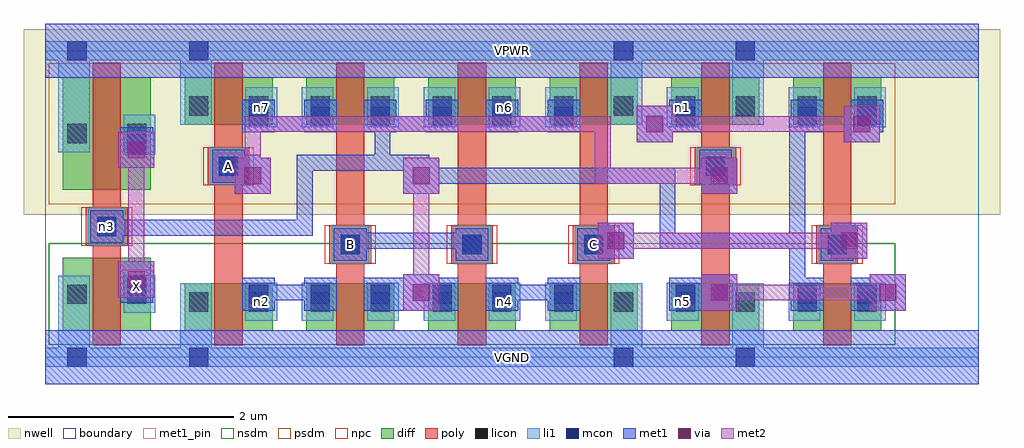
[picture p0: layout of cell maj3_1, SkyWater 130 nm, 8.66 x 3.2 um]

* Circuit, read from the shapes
.subckt maj3_1 A B C VGND VPWR X n1 n2 n3 n4 n5 n6 n7
XM1 X n3 VGND VSUBS sky130_fd_pr__nfet_01v8 w=0.65 l=0.25
XM2 n2 A VGND VSUBS sky130_fd_pr__nfet_01v8 w=0.42 l=0.25
XM3 n3 B n2 VSUBS sky130_fd_pr__nfet_01v8 w=0.42 l=0.25
XM4 n4 B n3 VSUBS sky130_fd_pr__nfet_01v8 w=0.42 l=0.25
XM5 VGND C n4 VSUBS sky130_fd_pr__nfet_01v8 w=0.42 l=0.25
XM6 VGND A n5 VSUBS sky130_fd_pr__nfet_01v8 w=0.42 l=0.25
XM7 n5 C n3 VSUBS sky130_fd_pr__nfet_01v8 w=0.42 l=0.25
XM8 X n3 VPWR n8 sky130_fd_pr__pfet_01v8 w=1 l=0.25
XM9 n7 A VPWR n8 sky130_fd_pr__pfet_01v8 w=0.42 l=0.25
XM10 n3 B n7 n8 sky130_fd_pr__pfet_01v8 w=0.42 l=0.25
XM11 n6 B n3 n8 sky130_fd_pr__pfet_01v8 w=0.42 l=0.25
XM12 VPWR C n6 n8 sky130_fd_pr__pfet_01v8 w=0.42 l=0.25
XM13 VPWR A n1 n8 sky130_fd_pr__pfet_01v8 w=0.42 l=0.25
XM14 n1 C n3 n8 sky130_fd_pr__pfet_01v8 w=0.42 l=0.25
.ends

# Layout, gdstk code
import gdstk
lib = gdstk.Library(unit=1e-6, precision=1e-09)
def R(c, l, rs):  # rectangles x0, y0, x1, y1
    for r in rs: c.add(gdstk.rectangle(r[:2], r[2:], *l))
def A(c, l, x, y, w, h, nx, ny, dx, dy):  # array of equal rectangles
    R(c, l, [(x+i*dx, y+j*dy, x+i*dx+w, y+j*dy+h) for i in range(nx) for j in range(ny)])
nwell = (64, 20)
diff = (65, 20)
poly = (66, 20)
licon = (66, 44)
li1 = (67, 20)
mcon = (67, 44)
met1_pin = (68, 16)
met1 = (68, 20)
via = (68, 44)
met2 = (69, 20)
nsdm = (93, 44)
psdm = (94, 20)
npc = (95, 20)
boundary = (235, 4)

maj3_1 = lib.new_cell('maj3_1')
R(maj3_1, nwell, [(-0.19,1.265,8.47,2.91), (0,1.265,8.28,2.91)])
A(maj3_1, diff, 1.235, 0.235, 0.78, 0.42, 6, 2, 1.08, 1.83)
R(maj3_1, diff, [(0.155,0.235,0.935,0.885), (0.155,1.485,0.935,2.485)])
A(maj3_1, poly, 0.42, 0.105, 0.25, 2.51, 7, 1, 1.08, 0)
A(maj3_1, poly, 2.52, 0.83, 0.37, 0.34, 3, 1, 1.08, 0)
R(maj3_1, poly, [(6.84,0.83,7.21,1.17), (0.36,0.99,0.73,1.33), (1.44,1.525,1.81,1.865), (5.76,1.525,6.13,1.865)])
A(maj3_1, licon, 2.62, 0.915, 0.17, 0.17, 3, 1, 1.08, 0)
R(maj3_1, licon, [(1.275,0.405,1.445,0.575), (1.805,0.405,1.975,0.575), (2.355,0.405,2.525,0.575), (2.885,0.405,3.055,0.575), (3.435,0.405,3.605,0.575), (3.965,0.405,4.135,0.575), (4.515,0.405,4.685,0.575), (5.045,0.405,5.215,0.575), (5.595,0.405,5.765,0.575), (6.125,0.405,6.295,0.575), (6.675,0.405,6.845,0.575), (7.205,0.405,7.375,0.575), (0.195,0.475,0.365,0.645), (0.725,0.475,0.895,0.645), (6.94,0.915,7.11,1.085), (0.46,1.075,0.63,1.245), (1.54,1.61,1.71,1.78), (5.86,1.61,6.03,1.78), (0.195,1.9,0.365,2.07), (0.725,1.9,0.895,2.07), (1.275,2.145,1.445,2.315), (1.805,2.145,1.975,2.315), (2.355,2.145,2.525,2.315), (2.885,2.145,3.055,2.315), (3.435,2.145,3.605,2.315), (3.965,2.145,4.135,2.315), (4.515,2.145,4.685,2.315), (5.045,2.145,5.215,2.315), (5.595,2.145,5.765,2.315), (6.125,2.145,6.295,2.315), (6.675,2.145,6.845,2.315), (7.205,2.145,7.375,2.315)])
A(maj3_1, li1, 4.435, 0.325, 0.28, 0.335, 3, 1, 1.08, 0)
A(maj3_1, li1, 2.54, 0.835, 0.33, 0.33, 3, 1, 1.08, 0)
A(maj3_1, li1, 4.435, 2.04, 0.28, 0.355, 3, 1, 1.08, 0)
R(maj3_1, li1, [(0,-0.085,8.28,0.085), (0.115,-0.085,0.395,0.725), (1.195,-0.085,1.475,0.655), (5.015,-0.085,5.295,0.655), (6.095,-0.085,6.375,0.655), (1.775,0.325,2.055,0.66), (2.275,0.325,2.555,0.66), (2.855,0.325,3.135,0.66), (3.355,0.325,3.635,0.66), (3.935,0.325,4.215,0.66), (7.175,0.325,7.455,0.66), (0.695,0.395,0.975,0.73), (6.86,0.835,7.19,1.165), (0.38,0.995,0.71,1.325), (1.46,1.53,1.79,1.86), (5.78,1.53,6.11,1.86), (0.695,1.795,0.975,2.15), (0.115,1.82,0.395,2.805), (1.775,2.04,2.055,2.395), (2.275,2.04,2.555,2.395), (2.855,2.04,3.135,2.395), (3.355,2.04,3.635,2.395), (3.935,2.04,4.215,2.395), (7.175,2.04,7.455,2.395), (1.195,2.065,1.475,2.805), (5.015,2.065,5.295,2.805), (6.095,2.065,6.375,2.805), (0,2.635,8.28,2.805)])
A(maj3_1, mcon, 4.515, 0.475, 0.17, 0.17, 3, 2, 1.08, 1.58)
A(maj3_1, mcon, 2.62, 0.915, 0.17, 0.17, 3, 1, 1.08, 0)
R(maj3_1, mcon, [(0.195,-0.085,0.365,0.085), (1.275,-0.085,1.445,0.085), (5.045,-0.085,5.215,0.085), (6.125,-0.085,6.295,0.085), (1.805,0.475,1.975,0.645), (2.355,0.475,2.525,0.645), (2.885,0.475,3.055,0.645), (3.435,0.475,3.605,0.645), (3.965,0.475,4.135,0.645), (7.205,0.475,7.375,0.645), (0.725,0.545,0.895,0.715), (6.94,0.915,7.11,1.085), (0.46,1.075,0.63,1.245), (1.54,1.61,1.71,1.78), (5.86,1.61,6.03,1.78), (0.725,1.81,0.895,1.98), (1.805,2.055,1.975,2.225), (2.355,2.055,2.525,2.225), (2.885,2.055,3.055,2.225), (3.435,2.055,3.605,2.225), (3.965,2.055,4.135,2.225), (7.205,2.055,7.375,2.225), (0.195,2.635,0.365,2.805), (1.275,2.635,1.445,2.805), (5.045,2.635,5.215,2.805), (6.125,2.635,6.295,2.805)])
R(maj3_1, met1_pin, [(0,-0.24,8.28,0.24), (0.665,0.485,0.955,0.775), (2.56,0.855,2.85,1.145), (4.72,0.855,5.01,1.145), (1.48,1.55,1.77,1.84), (0,2.48,8.28,2.96)])
A(maj3_1, met1, 4.455, 0.415, 0.29, 0.29, 3, 2, 1.08, 1.58)
A(maj3_1, met1, 3.38, 0.505, 0.14, 0.14, 3, 2, 0.575, 1.495)
A(maj3_1, met1, 2.56, 0.855, 0.29, 0.29, 3, 1, 1.08, 0)
A(maj3_1, met1, 2.69, 0.965, 0.14, 0.14, 3, 1, 1.035, 0)
R(maj3_1, met1, [(0,-0.24,8.28,0.24), (1.745,0.415,2.035,0.705), (2.295,0.415,2.585,0.705), (2.825,0.415,3.115,0.705), (3.115,0.415,3.175,0.705), (3.175,0.415,3.495,0.735), (3.375,0.415,3.665,0.705), (3.905,0.415,4.195,0.705), (5.82,0.415,6.14,0.735), (7.145,0.415,7.435,0.705), (7.315,0.415,7.635,0.735), (0.665,0.485,0.955,0.775), (1.885,0.505,2.025,0.645), (1.885,0.505,2.485,0.645), (2.345,0.505,2.485,0.645), (2.92,0.505,3.06,0.645), (2.92,0.505,3.405,0.645), (3.265,0.505,3.52,0.645), (3.955,0.505,4.67,0.645), (5.68,0.505,5.82,0.645), (5.68,0.505,6.05,0.645), (6.6,0.505,6.855,0.645), (6.6,0.505,6.74,1.105), (6.715,0.505,6.855,0.645), (7.29,0.505,7.43,0.645), (7.29,0.505,7.545,0.645), (0.645,0.53,0.965,0.85), (0.735,0.62,0.875,0.76), (6.88,0.855,7.17,1.145), (4.9,0.875,5.22,1.195), (6.97,0.875,7.29,1.195), (2.69,0.965,3.865,1.105), (4.76,0.965,5.13,1.105), (5.45,0.965,5.59,1.68), (5.45,0.965,6.74,1.105), (6.6,0.965,6.74,2.14), (6.945,0.965,7.085,1.105), (6.945,0.965,7.2,1.105), (0.4,1.015,0.69,1.305), (0.505,1.08,0.645,1.22), (0.505,1.08,2.37,1.22), (2.23,1.08,2.37,1.795), (1.68,1.45,2,1.77), (3.175,1.45,3.495,1.77), (5.82,1.45,6.14,1.77), (1.77,1.54,1.91,1.795), (3.265,1.54,3.405,1.795), (3.265,1.54,5.59,1.68), (5.91,1.54,6.05,1.795), (1.48,1.55,1.77,1.84), (5.8,1.55,6.09,1.84), (1.54,1.655,1.68,1.795), (1.54,1.655,1.91,1.795), (2.23,1.655,3.06,1.795), (2.92,1.655,3.06,2.14), (2.92,1.655,3.405,1.795), (5.91,1.655,6.05,1.795), (0.645,1.68,0.965,2), (0.665,1.75,0.955,2.04), (0.735,1.77,0.875,1.91), (5.245,1.91,5.565,2.23), (7.085,1.91,7.405,2.23), (1.745,1.995,2.035,2.285), (2.295,1.995,2.585,2.285), (2.825,1.995,3.115,2.285), (3.375,1.995,3.665,2.285), (3.905,1.995,4.195,2.285), (7.145,1.995,7.435,2.285), (1.885,2,2.025,2.14), (1.885,2,2.485,2.14), (2.345,2,2.485,2.14), (2.92,2,3.06,2.14), (2.92,2,3.52,2.14), (3.955,2,4.67,2.14), (5.335,2,5.705,2.14), (5.565,2,5.705,2.14), (6.6,2,6.855,2.14), (6.715,2,6.855,2.14), (7.175,2,7.315,2.14), (0,2.48,8.28,2.96)])
R(maj3_1, via, [(3.26,0.5,3.41,0.65), (5.905,0.5,6.055,0.65), (7.4,0.5,7.55,0.65), (0.73,0.615,0.88,0.765), (4.985,0.96,5.135,1.11), (7.055,0.96,7.205,1.11), (1.765,1.535,1.915,1.685), (3.26,1.535,3.41,1.685), (5.905,1.535,6.055,1.685), (0.73,1.765,0.88,1.915), (5.33,1.995,5.48,2.145), (7.17,1.995,7.32,2.145)])
R(maj3_1, met2, [(3.175,0.415,3.495,0.735), (5.82,0.415,6.14,0.735), (7.315,0.415,7.635,0.735), (3.265,0.505,3.405,1.68), (5.91,0.505,7.545,0.645), (0.645,0.53,0.965,0.85), (0.735,0.62,0.875,1.91), (4.9,0.875,5.22,1.195), (6.97,0.875,7.29,1.195), (4.99,0.965,7.2,1.105), (1.68,1.45,2,1.77), (3.175,1.45,3.495,1.77), (5.82,1.45,6.14,1.77), (1.77,1.54,1.91,2.14), (4.875,1.54,5.015,2.14), (4.875,1.54,6.05,1.68), (0.645,1.68,0.965,2), (5.245,1.91,5.565,2.23), (7.085,1.91,7.405,2.23), (1.77,2,5.015,2.14), (5.335,2,7.315,2.14)])
R(maj3_1, nsdm, [(0.03,0.11,7.54,1.01)])
R(maj3_1, psdm, [(0.03,1.36,7.54,2.61)])
A(maj3_1, npc, 2.48, 0.83, 0.45, 0.34, 3, 1, 1.08, 0)
R(maj3_1, npc, [(6.8,0.83,7.25,1.17), (0.32,0.99,0.77,1.33), (1.4,1.525,1.85,1.865), (5.72,1.525,6.17,1.865)])
R(maj3_1, boundary, [(0,0,8.28,2.72)])
maj3_1.add(gdstk.Label('n3', (0.545,1.16), layer=67, texttype=5))
maj3_1.add(gdstk.Label('n2', (1.915,0.492), layer=67, texttype=5))
maj3_1.add(gdstk.Label('n7', (1.915,2.217), layer=67, texttype=5))
maj3_1.add(gdstk.Label('n4', (4.075,0.492), layer=67, texttype=5))
maj3_1.add(gdstk.Label('n6', (4.075,2.217), layer=67, texttype=5))
maj3_1.add(gdstk.Label('n5', (5.655,0.492), layer=67, texttype=5))
maj3_1.add(gdstk.Label('n1', (5.655,2.217), layer=67, texttype=5))
maj3_1.add(gdstk.Label('A', (1.625,1.695), layer=68, texttype=5))
maj3_1.add(gdstk.Label('B', (2.705,1), layer=68, texttype=5))
maj3_1.add(gdstk.Label('C', (4.865,1), layer=68, texttype=5))
maj3_1.add(gdstk.Label('X', (0.81,0.63), layer=68, texttype=5))
maj3_1.add(gdstk.Label('VPWR', (4.14,2.72), layer=68, texttype=5))
maj3_1.add(gdstk.Label('VGND', (4.14,0), layer=68, texttype=5))
maj3_1.add(gdstk.Label('A', (1.625,1.695), layer=68, texttype=16))
maj3_1.add(gdstk.Label('B', (2.705,1), layer=68, texttype=16))
maj3_1.add(gdstk.Label('C', (4.865,1), layer=68, texttype=16))
maj3_1.add(gdstk.Label('X', (0.81,0.63), layer=68, texttype=16))
maj3_1.add(gdstk.Label('VPWR', (4.14,2.72), layer=68, texttype=16))
maj3_1.add(gdstk.Label('VGND', (4.14,0), layer=68, texttype=16))

lib.write_gds('maj3_1.gds')
